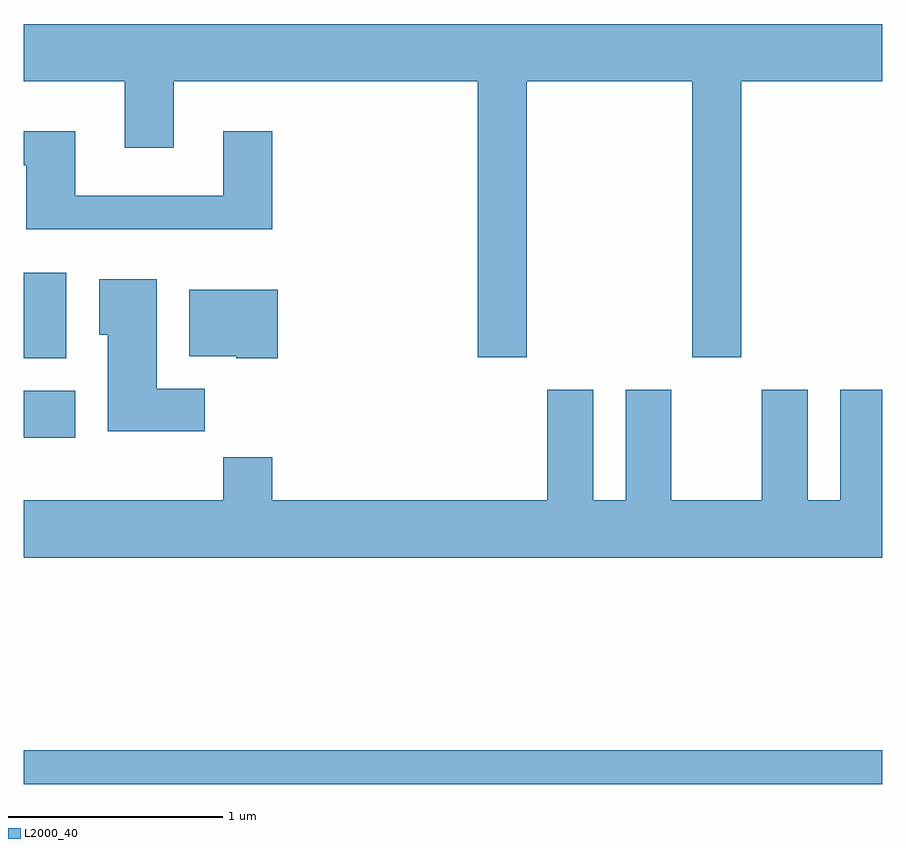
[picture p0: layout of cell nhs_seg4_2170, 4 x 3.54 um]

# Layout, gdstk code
import gdstk
lib = gdstk.Library(unit=1e-6, precision=1e-09)
def R(c, l, rs):  # rectangles x0, y0, x1, y1
    for r in rs: c.add(gdstk.rectangle(r[:2], r[2:], *l))
def P(c, l, *ps):  # polygons
    for p in ps: c.add(gdstk.Polygon(p, *l))
L2000_40 = (2000, 40)

nhs_seg4_2170 = lib.new_cell('nhs_seg4_2170')
R(nhs_seg4_2170, L2000_40, [(247.611,1378.041,251.611,1378.199), (247.611,1379.656,247.849,1379.874), (247.611,1380.026,247.809,1380.424)])
P(nhs_seg4_2170, L2000_40, [(249.954,1381.316),(250.726,1381.316),(250.726,1380.031),(250.954,1380.031),(250.954,1381.316),(251.611,1381.316),(251.611,1381.584),(247.611,1381.584),(247.611,1381.316),(248.081,1381.316),(248.081,1381.006),(248.309,1381.006),(248.309,1381.316),(249.726,1381.316),(249.726,1380.031),(249.954,1380.031)],
  [(248.769,1381.084),(248.541,1381.084),(248.541,1380.784),(247.849,1380.784),(247.849,1381.084),(247.611,1381.084),(247.611,1380.926),(247.621,1380.926),(247.621,1380.626),(248.769,1380.626)],
  [(248.454,1379.884),(248.229,1379.884),(248.229,1380.394),(247.961,1380.394),(247.961,1380.136),(248.001,1380.136),(248.001,1379.686),(248.454,1379.686)],
  [(248.794,1380.344),(248.381,1380.344),(248.381,1380.036),(248.6,1380.036),(248.6,1380.026),(248.794,1380.026)],
  [(251.611,1379.879),(251.416,1379.879),(251.416,1379.364),(251.264,1379.364),(251.264,1379.879),(251.051,1379.879),(251.051,1379.364),(250.629,1379.364),(250.629,1379.879),(250.416,1379.879),(250.416,1379.364),(250.264,1379.364),(250.264,1379.879),(250.051,1379.879),(250.051,1379.364),(248.769,1379.364),(248.769,1379.564),(248.541,1379.564),(248.541,1379.364),(247.611,1379.364),(247.611,1379.096),(251.611,1379.096)])

lib.write_gds('nhs_seg4_2170.gds')
